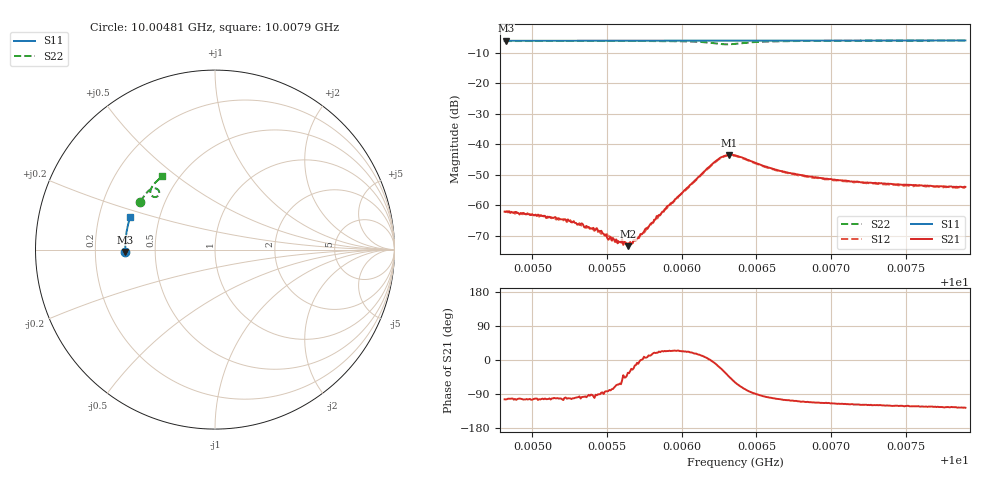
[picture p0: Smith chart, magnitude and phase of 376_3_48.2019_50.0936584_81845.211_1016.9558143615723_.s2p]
#  HZ  S  RI  R  50.00
! Rohde & Schwarz Vector Network Analyzer
! Rohde-Schwarz,ZNB20-2Port,1311601062101988,3.16
! Created: UTC 3/20/2024, 11:52:55 AM
! freq[Hz]  re:S11  im:S11  re:S21  im:S21  re:S12  im:S12  re:S22  im:S22
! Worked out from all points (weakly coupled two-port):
!   401 points, 10.00481 GHz to 10.0079 GHz, reference 50 ohm
!   highest |S21| = -43.49 dB at 10.00632 GHz (marker M1); lowest = -73.5 dB at 10.00564 GHz (marker M2)
!   lowest |S11| = -6.0 dB at 10.00482 GHz (marker M3), VSWR 2.99, Z = 16.7 - j0.609 ohm
!   |S11| at or under -10 dB: nowhere
!   |S22| runs from -7.2 to -6.0 dB; largest |S21 - S12| = 0.0004
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1.0004814e10  -0.499 -0.0143  -0.000187 -0.000761  -0.000159 -0.000765  -0.4157 0.2666
1.0004822e10  -0.499 -0.0137  -0.00019 -0.000758  -0.000139 -0.000758  -0.4153 0.2672
1.0005069e10  -0.4997 0.0023  -0.000136 -0.000648  -0.00013 -0.000652  -0.4067 0.2818
1.0005269e10  -0.4999 0.0154  -0.000103 -0.000522  -6.78e-05 -0.000516  -0.3988 0.2936
1.0005331e10  -0.4997 0.0195  -6.81e-05 -0.000497  -4.67e-05 -0.000459  -0.3963 0.2973
1.0005439e10  -0.4998 0.0264  -5.02e-06 -0.000386  -3.08e-06 -0.000364  -0.3916 0.3037
1.000547e10  -0.4998 0.0283  2.65e-05 -0.000344  3.11e-05 -0.000314  -0.3901 0.3057
1.0005516e10  -0.4998 0.0315  5.35e-05 -0.000279  4.62e-05 -0.000306  -0.3881 0.3085
1.0005578e10  -0.4995 0.0353  0.00011 -0.000232  0.000131 -0.000187  -0.3849 0.3123
1.000564e10  -0.4992 0.0392  0.000176 -0.000118  0.000186 -0.000145  -0.3818 0.3161
1.0005655e10  -0.4993 0.0404  0.000216 -0.000122  0.000193 -0.000137  -0.381 0.317
1.0005701e10  -0.4991 0.0433  0.000284 -3.66e-05  0.000283 -1.25e-05  -0.3783 0.3199
1.0005848e10  -0.4985 0.0529  0.000636 0.00026  0.000629 0.000253  -0.3685 0.3293
1.0006211e10  -0.4957 0.0761  0.00485 -0.000422  0.00477 -0.000199  -0.3154 0.3313
1.0006265e10  -0.4954 0.0794  0.00563 -0.00238  0.00558 -0.00207  -0.3104 0.3137
1.0006319e10  -0.4949 0.0827  0.00477 -0.00469  0.0049 -0.00435  -0.321 0.2964
1.0006357e10  -0.4945 0.085  0.00339 -0.00563  0.00361 -0.00534  -0.3343 0.2925
1.0006643e10  -0.4922 0.1031  -0.000815 -0.00367  -0.000652 -0.00365  -0.358 0.334
1.0006874e10  -0.4894 0.118  -0.0011 -0.00271  -0.000898 -0.00267  -0.3476 0.3542
1.0007144e10  -0.4854 0.1349  -0.00108 -0.00218  -0.00101 -0.00218  -0.3341 0.371
1.0007391e10  -0.4815 0.1503  -0.00113 -0.00193  -0.00102 -0.00191  -0.3219 0.3841
1.00079e10  -0.4717 0.1817  -0.00117 -0.00161  -0.00102 -0.00163  -0.2959 0.4074
